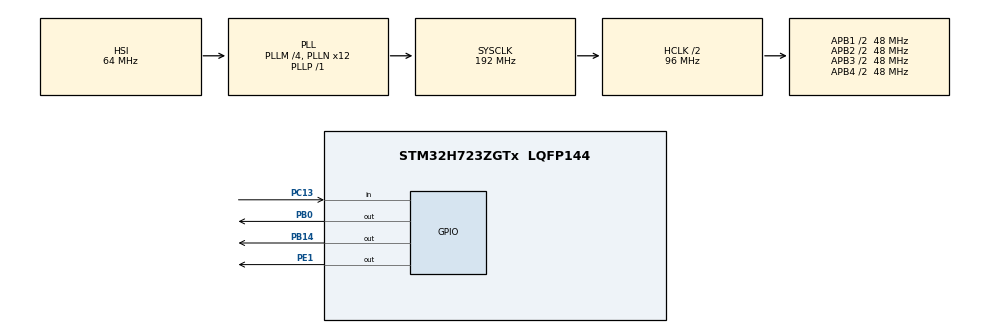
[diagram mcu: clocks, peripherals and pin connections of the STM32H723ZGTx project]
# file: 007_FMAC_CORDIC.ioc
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CORTEX_M7.default_mode_Activation=1
Mcu.Family=STM32H7
Mcu.Name=STM32H723ZGTx
Mcu.Package=LQFP144
NUCLEO-H723ZG.BUTTON=1
NUCLEO-H723ZG.LD1=true
NUCLEO-H723ZG.LD2=true
NUCLEO-H723ZG.LD3=true
NUCLEO-H723ZG.VCP=true
NVIC.CORDIC_IRQn=true\:0\:0\:false\:false\:true\:true\:true\:true
NVIC.EXTI15_10_IRQn=true\:0\:0\:false\:false\:true\:false\:true\:true
NVIC.FMAC_IRQn=true\:0\:0\:false\:false\:true\:true\:true\:true
NVIC.PriorityGroup=NVIC_PRIORITYGROUP_4
PA13(JTMS/SWDIO).GPIO_Label=SWDIO
PA13(JTMS/SWDIO).Mode=Trace_Asynchronous_SW
PA13(JTMS/SWDIO).Signal=DEBUG_JTMS-SWDIO
PA14(JTCK/SWCLK).GPIO_Label=SWCLK
PA14(JTCK/SWCLK).Mode=Trace_Asynchronous_SW
PA14(JTCK/SWCLK).Signal=DEBUG_JTCK-SWCLK
PB0.Signal=GPIO_Output
PB14.Signal=GPIO_Output
PB3(JTDO/TRACESWO).Mode=Trace_Asynchronous_SW
PB3(JTDO/TRACESWO).Signal=DEBUG_JTDO-SWO
PC13.Signal=GPIO_Input
PC14-OSC32_IN.Signal=RCC_OSC32_IN
PC15-OSC32_OUT.Signal=RCC_OSC32_OUT
PD8.Signal=USART3_TX
PD9.Signal=USART3_RX
PE1.Signal=GPIO_Output
ProjectManager.HeapSize=0x200
ProjectManager.StackSize=0x400
ProjectManager.TargetToolchain=STM32CubeIDE
RCC.ADCFreq_Value=608000000
RCC.APB1Freq_Value=48000000
RCC.APB2Freq_Value=48000000
RCC.APB3Freq_Value=48000000
RCC.APB4Freq_Value=48000000
RCC.CortexFreq_Value=192000000
RCC.D1PPRE=RCC_APB3_DIV2
RCC.D2PPRE1=RCC_APB1_DIV2
RCC.D2PPRE2=RCC_APB2_DIV2
RCC.D3PPRE=RCC_APB4_DIV2
RCC.DIVM1=4
RCC.DIVM2=1
RCC.DIVN1=12
RCC.DIVN2=19
RCC.DIVP1=1
RCC.DIVQ1=4
RCC.HCLKFreq_Value=96000000
RCC.HPRE=RCC_HCLK_DIV2
RCC.HSE_VALUE=8000000
RCC.PLLFRACN=0
RCC.SYSCLKFreq_VALUE=192000000
RCC.SYSCLKSource=RCC_SYSCLKSOURCE_PLLCLK
RCC.USBCLockSelection=RCC_USBCLKSOURCE_HSI48
RCC.USBFreq_Value=48000000
VP_CORDIC_VS_CORDIC.Mode=CORDIC_Activate
VP_FMAC_VS_FMAC.Mode=FMAC_Activate
VP_MEMORYMAP_VS_MEMORYMAP.Mode=CurAppReg
VP_NUCLEO-H723ZG_VS_BSP_COMMON.Mode=COMMON
board=NUCLEO-H723ZG

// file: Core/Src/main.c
/* USER CODE BEGIN Header */
/**
  ******************************************************************************
  * @file           : main.c
  * @brief          : Main program body
  ******************************************************************************
  * @attention
  *
  * Copyright (c) 2025 STMicroelectronics.
  * All rights reserved.
  *
  * This software is licensed under terms that can be found in the LICENSE file
  * in the root directory of this software component.
  * If no LICENSE file comes with this software, it is provided AS-IS.
  *
  ******************************************************************************
  */
/* USER CODE END Header */
#include "main.h"

/* USER CODE BEGIN Includes */
#include"string.h"
/* USER CODE END Includes */

COM_InitTypeDef BspCOMInit;
CORDIC_HandleTypeDef hcordic;

FMAC_HandleTypeDef hfmac;

void SystemClock_Config(void);
static void MPU_Config(void);
static void MX_GPIO_Init(void);
static void MX_CORDIC_Init(void);
static void MX_FMAC_Init(void);

/* USER CODE BEGIN 0 */

double calc_sin_cordic(double degree)
{
    int32_t input;
    int32_t output[2]; // [0]=cos, [1]=sin

    CORDIC_ConfigTypeDef sconfig;

    sconfig.Function = CORDIC_FUNCTION_COSINE;
    sconfig.Precision = CORDIC_PRECISION_15CYCLES;
    sconfig.Scale = CORDIC_SCALE_0;
    sconfig.NbWrite = CORDIC_NBWRITE_1;
    sconfig.NbRead = CORDIC_NBREAD_2;
    sconfig.InSize = CORDIC_INSIZE_32BITS;
    sconfig.OutSize = CORDIC_OUTSIZE_32BITS;

    HAL_CORDIC_Configure(&hcordic, &sconfig);

    double rad = degree * (M_PI / 180.0f);
    input = (int32_t)(rad * (1LL << 31) / M_PI); // Q1.31 formatında açı

    HAL_CORDIC_Calculate(&hcordic, &input, output, 1, HAL_MAX_DELAY);

    // CORDIC sinüs Q1.31  float
    double sin_val = ((float)output[1]) / (float)(1LL << 31);
    return sin_val;
}

void test_cordic(void)
{
    float angle = 33.56f;
    double result = calc_sin_cordic(angle);
    printf("CORDIC sin(%f°) = %f\r\n", angle, result);
}

double calc_sin_sinf(float degree)
{
    double rad = degree * (M_PI / 180.0f);  // DEG2RAD
    return sinf(rad);
}

void test_sinf(void)
{
    float angle =  33.56f;
    double result = calc_sin_sinf(angle);
    printf("sinf(%f°) = %f\r\n", angle, result);
}

/* USER CODE END 0 */

int main(void)
{

  /* MPU Configuration--------------------------------------------------------*/
  MPU_Config();

  /* MCU Configuration--------------------------------------------------------*/

  /* Reset of all peripherals, Initializes the Flash interface and the Systick. */
  HAL_Init();

  /* Configure the system clock */
  SystemClock_Config();

  /* Initialize all configured peripherals */
  MX_GPIO_Init();
  MX_CORDIC_Init();
  MX_FMAC_Init();

  /* Initialize leds */
  BSP_LED_Init(LED_GREEN);
  BSP_LED_Init(LED_YELLOW);
  BSP_LED_Init(LED_RED);

  /* Initialize USER push-button, will be used to trigger an interrupt each time it's pressed.*/
  BSP_PB_Init(BUTTON_USER, BUTTON_MODE_EXTI);

  /* Initialize COM1 port (115200, 8 bits (7-bit data + 1 stop bit), no parity */
  BspCOMInit.BaudRate   = 115200;
  BspCOMInit.WordLength = COM_WORDLENGTH_8B;
  BspCOMInit.StopBits   = COM_STOPBITS_1;
  BspCOMInit.Parity     = COM_PARITY_NONE;
  BspCOMInit.HwFlowCtl  = COM_HWCONTROL_NONE;
  if (BSP_COM_Init(COM1, &BspCOMInit) != BSP_ERROR_NONE)
  {
    Error_Handler();
  }

  /* Infinite loop */
  while (1)
  {

    /* USER CODE BEGIN 3 */

	  test_cordic();
	  test_sinf();
	  HAL_Delay(1000);
  }
  /* USER CODE END 3 */
}

void SystemClock_Config(void)
{
  RCC_OscInitTypeDef RCC_OscInitStruct = {0};
  RCC_ClkInitTypeDef RCC_ClkInitStruct = {0};

  /** Supply configuration update enable
  */
  HAL_PWREx_ConfigSupply(PWR_LDO_SUPPLY);

  /** Configure the main internal regulator output voltage
  */
  __HAL_PWR_VOLTAGESCALING_CONFIG(PWR_REGULATOR_VOLTAGE_SCALE2);

  while(!__HAL_PWR_GET_FLAG(PWR_FLAG_VOSRDY)) {}

  /** Initializes the RCC Oscillators according to the specified parameters
  * in the RCC_OscInitTypeDef structure.
  */
  RCC_OscInitStruct.OscillatorType = RCC_OSCILLATORTYPE_HSI;
  RCC_OscInitStruct.HSIState = RCC_HSI_DIV1;
  RCC_OscInitStruct.HSICalibrationValue = 64;
  RCC_OscInitStruct.PLL.PLLState = RCC_PLL_ON;
  RCC_OscInitStruct.PLL.PLLSource = RCC_PLLSOURCE_HSI;
  RCC_OscInitStruct.PLL.PLLM = 4;
  RCC_OscInitStruct.PLL.PLLN = 12;
  RCC_OscInitStruct.PLL.PLLP = 1;
  RCC_OscInitStruct.PLL.PLLQ = 4;
  RCC_OscInitStruct.PLL.PLLR = 2;
  RCC_OscInitStruct.PLL.PLLRGE = RCC_PLL1VCIRANGE_3;
  RCC_OscInitStruct.PLL.PLLVCOSEL = RCC_PLL1VCOWIDE;
  RCC_OscInitStruct.PLL.PLLFRACN = 0;
  if (HAL_RCC_OscConfig(&RCC_OscInitStruct) != HAL_OK)
  {
    Error_Handler();
  }

  /** Initializes the CPU, AHB and APB buses clocks
  */
  RCC_ClkInitStruct.ClockType = RCC_CLOCKTYPE_HCLK|RCC_CLOCKTYPE_SYSCLK
                              |RCC_CLOCKTYPE_PCLK1|RCC_CLOCKTYPE_PCLK2
                              |RCC_CLOCKTYPE_D3PCLK1|RCC_CLOCKTYPE_D1PCLK1;
  RCC_ClkInitStruct.SYSCLKSource = RCC_SYSCLKSOURCE_PLLCLK;
  RCC_ClkInitStruct.SYSCLKDivider = RCC_SYSCLK_DIV1;
  RCC_ClkInitStruct.AHBCLKDivider = RCC_HCLK_DIV2;
  RCC_ClkInitStruct.APB3CLKDivider = RCC_APB3_DIV2;
  RCC_ClkInitStruct.APB1CLKDivider = RCC_APB1_DIV2;
  RCC_ClkInitStruct.APB2CLKDivider = RCC_APB2_DIV2;
  RCC_ClkInitStruct.APB4CLKDivider = RCC_APB4_DIV2;

  if (HAL_RCC_ClockConfig(&RCC_ClkInitStruct, FLASH_LATENCY_1) != HAL_OK)
  {
    Error_Handler();
  }
}

static void MX_CORDIC_Init(void)
{

  hcordic.Instance = CORDIC;
  if (HAL_CORDIC_Init(&hcordic) != HAL_OK)
  {
    Error_Handler();
  }

}

static void MX_FMAC_Init(void)
{

  hfmac.Instance = FMAC;
  if (HAL_FMAC_Init(&hfmac) != HAL_OK)
  {
    Error_Handler();
  }

}

static void MX_GPIO_Init(void)
{

  /* GPIO Ports Clock Enable */
  __HAL_RCC_GPIOC_CLK_ENABLE();
  __HAL_RCC_GPIOA_CLK_ENABLE();
  __HAL_RCC_GPIOB_CLK_ENABLE();

}

 /* MPU Configuration */

void MPU_Config(void)
{
  MPU_Region_InitTypeDef MPU_InitStruct = {0};

  /* Disables the MPU */
  HAL_MPU_Disable();

  /** Initializes and configures the Region and the memory to be protected
  */
  MPU_InitStruct.Enable = MPU_REGION_ENABLE;
  MPU_InitStruct.Number = MPU_REGION_NUMBER0;
  MPU_InitStruct.BaseAddress = 0x0;
  MPU_InitStruct.Size = MPU_REGION_SIZE_4GB;
  MPU_InitStruct.SubRegionDisable = 0x87;
  MPU_InitStruct.TypeExtField = MPU_TEX_LEVEL0;
  MPU_InitStruct.AccessPermission = MPU_REGION_NO_ACCESS;
  MPU_InitStruct.DisableExec = MPU_INSTRUCTION_ACCESS_DISABLE;
  MPU_InitStruct.IsShareable = MPU_ACCESS_SHAREABLE;
  MPU_InitStruct.IsCacheable = MPU_ACCESS_NOT_CACHEABLE;
  MPU_InitStruct.IsBufferable = MPU_ACCESS_NOT_BUFFERABLE;

  HAL_MPU_ConfigRegion(&MPU_InitStruct);
  /* Enables the MPU */
  HAL_MPU_Enable(MPU_PRIVILEGED_DEFAULT);

}

void Error_Handler(void)
{
  __disable_irq();
  while (1)
  {
  }
}
